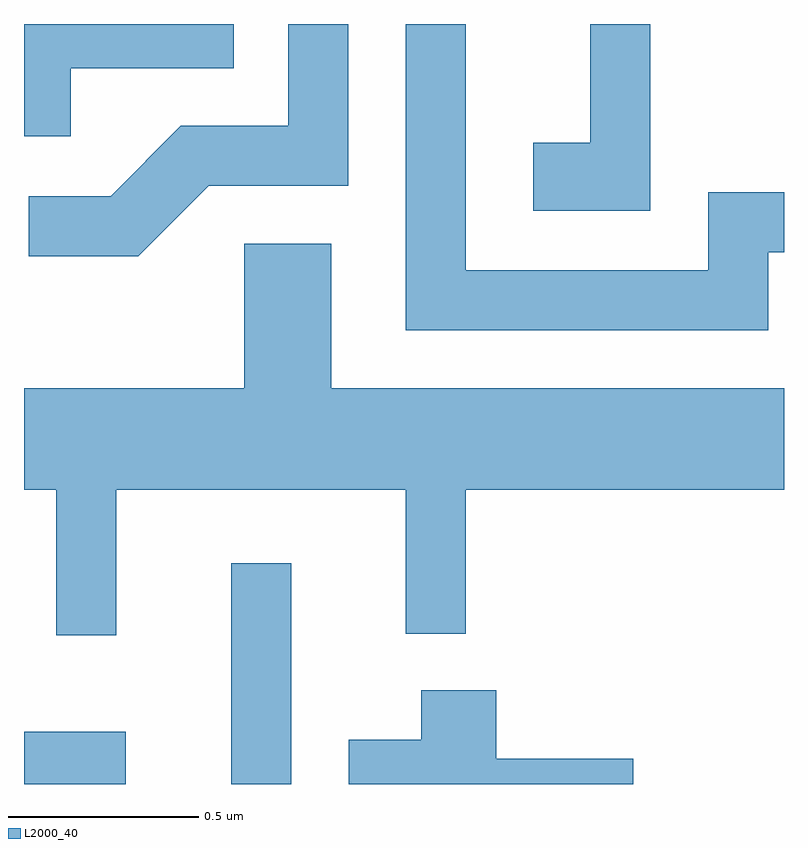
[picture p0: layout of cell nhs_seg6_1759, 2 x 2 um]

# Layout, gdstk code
import gdstk
lib = gdstk.Library(unit=1e-6, precision=1e-09)
def R(c, l, rs):  # rectangles x0, y0, x1, y1
    for r in rs: c.add(gdstk.rectangle(r[:2], r[2:], *l))
def P(c, l, *ps):  # polygons
    for p in ps: c.add(gdstk.Polygon(p, *l))
L2000_40 = (2000, 40)

nhs_seg6_1759 = lib.new_cell('nhs_seg6_1759')
R(nhs_seg6_1759, L2000_40, [(197.611,1649.162,197.879,1649.299), (198.156,1649.162,198.314,1649.743)])
P(nhs_seg6_1759, L2000_40, [(199.259,1651.162),(199.101,1651.162),(199.101,1650.849),(198.951,1650.849),(198.951,1650.671),(199.259,1650.671)],
  [(199.569,1650.561),(199.611,1650.561),(199.611,1650.719),(199.411,1650.719),(199.411,1650.514),(198.774,1650.514),(198.774,1651.162),(198.616,1651.162),(198.616,1650.356),(199.569,1650.356)],
  [(198.097,1650.736),(198.464,1650.736),(198.464,1651.162),(198.306,1651.162),(198.306,1650.894),(198.024,1650.894),(197.839,1650.709),(197.623,1650.709),(197.623,1650.551),(197.912,1650.551)],
  [(197.734,1651.046),(198.163,1651.046),(198.163,1651.162),(197.611,1651.162),(197.611,1650.866),(197.734,1650.866)],
  [(197.854,1649.936),(198.616,1649.936),(198.616,1649.558),(198.774,1649.558),(198.774,1649.936),(199.611,1649.936),(199.611,1650.204),(198.419,1650.204),(198.419,1650.584),(198.191,1650.584),(198.191,1650.204),(197.611,1650.204),(197.611,1649.936),(197.696,1649.936),(197.696,1649.553),(197.854,1649.553)],
  [(199.214,1649.229),(198.854,1649.229),(198.854,1649.409),(198.656,1649.409),(198.656,1649.279),(198.466,1649.279),(198.466,1649.162),(199.214,1649.162)])

lib.write_gds('nhs_seg6_1759.gds')
